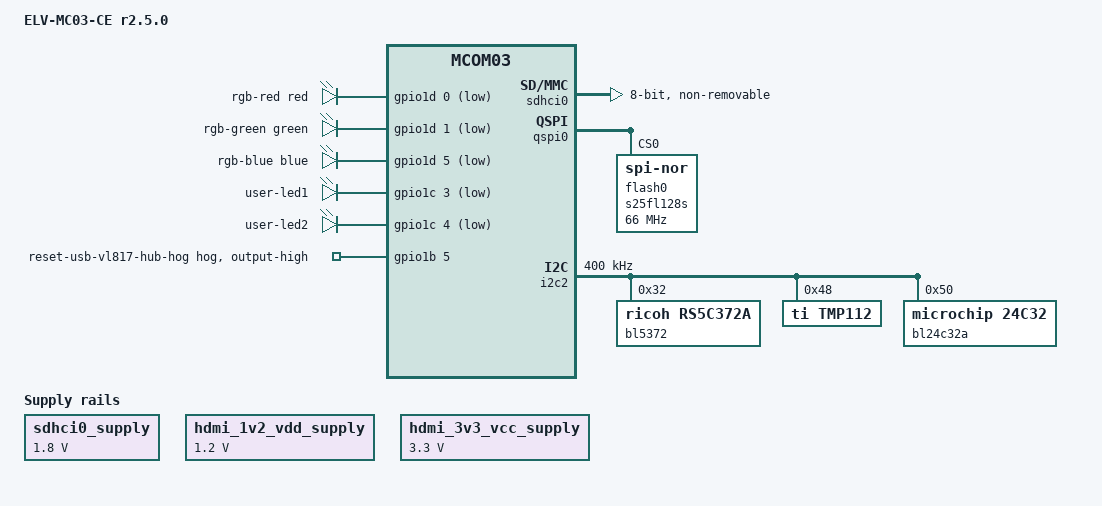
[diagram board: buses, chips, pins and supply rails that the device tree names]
// SPDX-License-Identifier: GPL-2.0+
/*
 * Copyright 2023 RnD Center "ELVEES", JSC
 */

/dts-v1/;

#include <dt-bindings/leds/common.h>

#include "mcom03.dtsi"

/ {
	model = "ELV-MC03-CE r2.5.0";
	compatible = "elvees,elvmc03ce-r2.5.0",
		     "elvees,elvmc03ce",
		     "elvees,mcom03";

	elvmc03ce-leds {
		compatible = "gpio-leds";

		rgb-red {
			gpios = <&gpio1d 0 GPIO_ACTIVE_LOW>;
			color = <LED_COLOR_ID_RED>;
			default-state = "off";
		};

		rgb-green {
			gpios = <&gpio1d 1 GPIO_ACTIVE_LOW>;
			color = <LED_COLOR_ID_GREEN>;
			default-state = "off";
		};

		rgb-blue {
			gpios = <&gpio1d 5 GPIO_ACTIVE_LOW>;
			color = <LED_COLOR_ID_BLUE>;
			default-state = "off";
		};

		user-led1 {
			gpios = <&gpio1c 3 GPIO_ACTIVE_LOW>;
			default-state = "on";
			linux,default-trigger = "heartbeat";
		};

		user-led2 {
			gpios = <&gpio1c 4 GPIO_ACTIVE_LOW>;
			default-state = "off";
		};
	};

	sdhci0_supply: regulator@0 {
		compatible = "regulator-fixed";
		regulator-name = "sdhci0-supply";
		regulator-min-microvolt = <1800000>;
		regulator-max-microvolt = <1800000>;
		regulator-always-on;
	};

	hdmi_1v2_vdd_supply: regulator@01 {
		compatible = "regulator-fixed";
		regulator-name = "hdmi-vdd-1.2v";
		regulator-min-microvolt = <1200000>;
		regulator-max-microvolt = <1200000>;
		regulator-always-on;
	};

	hdmi_3v3_vcc_supply: regulator@02 {
		compatible = "regulator-fixed";
		regulator-name = "hdmi-vcc-3.3v";
		regulator-min-microvolt = <3300000>;
		regulator-max-microvolt = <3300000>;
		regulator-always-on;
	};

	hdmi_sound: hdmi-sound {
		compatible = "simple-audio-card";
		simple-audio-card,name = "ELV-MC03-CE HDMI Audio";
		simple-audio-card,format = "i2s";
		simple-audio-card,bitclock-master = <&dailink0_master>;
		simple-audio-card,frame-master = <&dailink0_master>;
		simple-audio-card,continuous-clock;
		status = "disabled";

		dailink0_master: simple-audio-card,cpu {
			sound-dai = <&mfbsp0_i2s>;
		};

		simple-audio-card,codec {
			sound-dai = <&lt9611uxc>;
		};
	};
};

&gpio0a {
	gpio-line-names = "I2C0_SMBALERT", "nPCIE_WAKE", "UART3_CTS", "INT_HDMI",
		"INT_ETH", "RTC_INT", "INT_LVDS", "UART3_RTS";
};

&gpio0b {
	gpio-line-names = "UART3_RX", "UART3_TX", "SLEEP#", "",
		"GPIO1", "TPM_PP", "LVDS_BLEN", "SDR_h1v8-l1v5";
};

&gpio0c {
	gpio-line-names = "GPI0", "GPI3", "LVDS_VDD_EN", "GPO1",
		"HDMI_nRST", "LID#", "LVDS_nRST", "RST_ETH#";
};

&gpio0d {
	gpio-line-names = "SUS_STAT#", "BATLOW#", "SUS_S4#", "I2C0_SCL",
		"I2C0_SDA", "GPI2", "SUS_S3#", "SUS_S5#";
};

&gpio1a {
	gpio-line-names = "I2C_CK", "I2C_DAT", "I2C2_SCL", "I2C2_SDA",
		"I2C3_SCL", "I2C3_SDA", "WAKE1#", "THRM#";
};

&gpio1b {
	gpio-line-names = "I2S_CLK", "I2S_WS", "I2S_SDO", "I2S_RST#",
		"I2S_SDI", "USB_HUB_RST#", "GPIO2", "GPIO0";

	reset-usb-vl817-hub-hog {
		gpio-hog;
		gpios = <5 GPIO_ACTIVE_HIGH>;
		output-high;
	};
};

&gpio1c {
	gpio-line-names = "SPI_SCK", "SPI_MOSI", "SPI_MISO", "nUSER_LED1",
		"nUSER_LED2", "SPI_CS#", "GPI1", "SATA_PERST";
};

&gpio1d {
	gpio-line-names = "nLED-R", "nLED-G", "LVDS_BLT_CTRL", "SPKR",
		"FAN_PWMOUTp", "nLED-B", "FAN_TACHINp", "THRMTRIP#";
};

/* Connected to eMMC */
&sdhci0 {
	status = "okay";

	non-removable;
	bus-width = <8>;

	vqmmc-supply = <&sdhci0_supply>;
};

&qspi0 {
	status = "okay";

	flash0: s25fl128s@0 {
		#address-cells = <1>;
		#size-cells = <1>;
		compatible = "jedec,spi-nor", "spi-flash";
		reg = <0x0>;
		/* This is the highest frequency at which all commands are
		 * supported by the flash device.
		 */
		spi-max-frequency = <66000000>;
		m25p,fast-read;
	};
};

&i2c2 {
	clock-frequency = <400000>;
	status = "okay";

	bl5372: rtc@32 {
		compatible = "ricoh,rs5c372a";
		reg = <0x32>;
	};

	tmp112: temperature-sensor@48 {
		compatible = "ti,tmp112";
		reg = <0x48>;
	};

	bl24c32a: eeprom@50 {
		compatible = "microchip,24c32", "atmel,24c32";
		reg = <0x50>;
	};

	lt9611uxc: hdmi-bridge@2b {
		status = "disabled";

		lontium,dsi-mode-video-burst;
		lontium,dsi-clock-non-continuous;

		compatible = "lontium,lt9611uxc";
		reg = <0x2b>;

		vdd-supply = <&hdmi_1v2_vdd_supply>;
		vcc-supply = <&hdmi_3v3_vcc_supply>;
		#sound-dai-cells = <0>;

		reset-gpios = <&gpio0c 4 GPIO_ACTIVE_HIGH>;
		interrupts-extended = <&gpio0a 3 IRQ_TYPE_EDGE_FALLING>;

		ports {
			#address-cells = <1>;
			#size-cells = <0>;

			port@0 {
				reg = <0>;
				lt9611_in_p0: endpoint {
					remote-endpoint = <&dsi_out>;
				};
			};
		};
	};
};

&de_dsi {
	dsi-min-clock-frequency = <275000000>;
	status = "disabled";

	ports {
		port@1 {
			reg = <1>;
			dsi_out: endpoint {
				remote-endpoint = <&lt9611_in_p0>;
			};
		};
	};
};

&media_ucg1 {
	assigned-clocks = <&media_ucg1 CLK_MEDIA_UCG1_DISP_A>,
			  <&media_ucg1 CLK_MEDIA_UCG1_DISP_M>;
	assigned-clock-rates = <594000000 297000000>;
};

/* PCIe0 is connected to SATA controller. */
sata: &pcie0 { };
